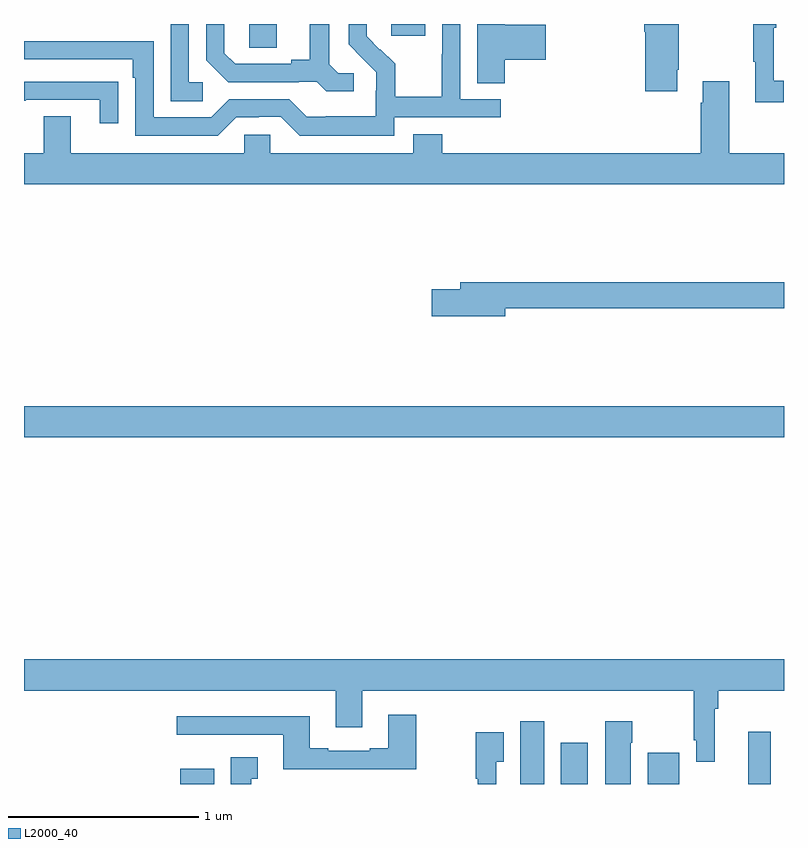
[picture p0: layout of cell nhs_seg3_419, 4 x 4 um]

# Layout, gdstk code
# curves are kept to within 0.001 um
import gdstk
lib = gdstk.Library(unit=1e-6, precision=1e-09)
def R(c, l, rs):  # rectangles x0, y0, x1, y1
    for r in rs: c.add(gdstk.rectangle(r[:2], r[2:], *l))
def P(c, l, *ps):  # polygons
    for p in ps: c.add(gdstk.Polygon(p, *l))
L2000_40 = (2000, 40)

nhs_seg3_419 = lib.new_cell('nhs_seg3_419')
R(nhs_seg3_419, L2000_40, [(131.822,724.4,132.001,724.48), (133.613,724.4,133.738,724.729), (133.826,724.4,133.966,724.618), (134.282,724.4,134.449,724.564), (134.813,724.4,134.93,724.675), (131,726.224,135,726.388), (132.186,728.275,132.331,728.4), (132.932,728.337,133.111,728.4)])
P(nhs_seg3_419, L2000_40, [(133.529,728.213),(133.747,728.213),(133.747,728.396),(133.529,728.396),(133.529,728.4),(133.385,728.4),(133.385,728.089),(133.529,728.089)],
  [(132.948,727.908),(133.51,727.908),(133.51,728.004),(133.296,728.004),(133.296,728.4),(133.2,728.4),(133.2,728.24),(133.198,728.24),(133.198,728.017),(132.953,728.017),(132.953,728.191),(132.876,728.268),(132.873,728.265),(132.803,728.336),(132.803,728.4),(132.708,728.4),(132.708,728.294),(132.854,728.146),(132.854,728.049),(132.852,728.049),(132.852,727.915),(132.589,727.915),(132.589,727.911),(132.489,727.911),(132.396,728.004),(132.081,728.004),(131.985,727.908),(131.682,727.908),(131.682,728.31),(131,728.31),(131,728.214),(131.573,728.214),(131.573,728.117),(131.586,728.117),(131.586,727.812),(132.021,727.812),(132.117,727.908),(132.236,727.908),(132.236,727.911),(132.351,727.911),(132.451,727.811),(132.948,727.811)],
  [(134.998,728.102),(134.946,728.102),(134.946,728.381),(134.959,728.381),(134.959,728.4),(134.838,728.4),(134.838,728.201),(134.849,728.201),(134.849,727.989),(134.998,727.989)],
  [(134.437,728.158),(134.445,728.158),(134.445,728.4),(134.264,728.4),(134.264,728.358),(134.27,728.358),(134.27,728.046),(134.437,728.046)],
  [(131.941,728.094),(131.868,728.094),(131.868,728.4),(131.772,728.4),(131.772,727.993),(131.941,727.993)],
  [(132.736,728.142),(132.654,728.142),(132.607,728.189),(132.607,728.4),(132.503,728.4),(132.503,728.213),(132.407,728.213),(132.407,728.19),(132.112,728.19),(132.055,728.247),(132.055,728.4),(131.958,728.4),(131.958,728.21),(132.074,728.094),(132.446,728.094),(132.446,728.097),(132.54,728.097),(132.592,728.045),(132.736,728.045)],
  [(135,727.72),(134.713,727.72),(134.713,728.098),(134.573,728.098),(134.573,727.985),(134.561,727.985),(134.561,727.72),(133.202,727.72),(133.202,727.819),(133.049,727.819),(133.049,727.72),(132.297,727.72),(132.297,727.818),(132.159,727.818),(132.159,727.72),(131.245,727.72),(131.245,727.915),(131.105,727.915),(131.105,727.72),(131,727.72),(131,727.556),(135,727.556)],
  [(131.495,728.096),(131.393,728.096),(131.393,728.097),(131,728.097),(131,727.996),(131.009,727.996),(131.009,728.001),(131.399,728.001),(131.399,727.878),(131.495,727.878)],
  [(133.534,726.904),(135,726.904),(135,727.04),(133.295,727.04),(133.295,727.004),(133.146,727.004),(133.146,726.862),(133.534,726.862)],
  [(134.636,724.796),(134.654,724.796),(134.654,724.892),(135,724.892),(135,725.056),(131,725.056),(131,724.892),(132.641,724.892),(132.641,724.698),(132.781,724.698),(132.781,724.892),(134.526,724.892),(134.526,724.63),(134.538,724.63),(134.538,724.518),(134.636,724.518)],
  [(133.065,724.765),(132.917,724.765),(132.917,724.588),(132.821,724.588),(132.821,724.575),(132.601,724.575),(132.601,724.588),(132.505,724.588),(132.505,724.756),(131.805,724.756),(131.805,724.659),(132.365,724.659),(132.365,724.478),(133.065,724.478)],
  [(134.194,724.616),(134.202,724.616),(134.202,724.729),(134.06,724.729),(134.06,724.4),(134.194,724.4)],
  [(133.485,724.516),(133.525,724.516),(133.525,724.672),(133.377,724.672),(133.377,724.427),(133.389,724.427),(133.389,724.4),(133.485,724.4)],
  [(132.196,724.427),(132.229,724.427),(132.229,724.54),(132.089,724.54),(132.089,724.4),(132.196,724.4)])

lib.write_gds('nhs_seg3_419.gds')
